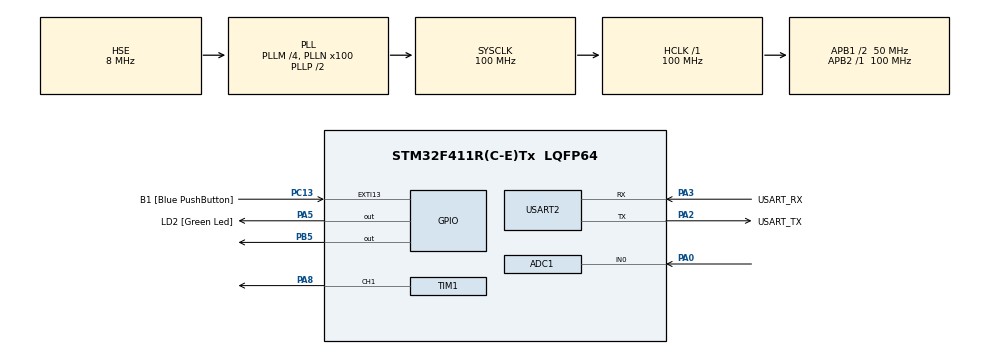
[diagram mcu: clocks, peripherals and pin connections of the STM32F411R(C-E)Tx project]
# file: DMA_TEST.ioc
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ADC1.Channel-0\#ChannelRegularConversion=ADC_CHANNEL_0
ADC1.NbrOfConversionFlag=1
ADC1.Rank-0\#ChannelRegularConversion=1
ADC1.SamplingTime-0\#ChannelRegularConversion=ADC_SAMPLETIME_3CYCLES
ADC1.master=1
Dma.Request0=TIM1_CH1
Dma.TIM1_CH1.0.Direction=DMA_MEMORY_TO_PERIPH
Dma.TIM1_CH1.0.FIFOMode=DMA_FIFOMODE_DISABLE
Dma.TIM1_CH1.0.Instance=DMA2_Stream1
Dma.TIM1_CH1.0.MemDataAlignment=DMA_MDATAALIGN_HALFWORD
Dma.TIM1_CH1.0.MemInc=DMA_MINC_ENABLE
Dma.TIM1_CH1.0.Mode=DMA_CIRCULAR
Dma.TIM1_CH1.0.PeriphDataAlignment=DMA_PDATAALIGN_HALFWORD
Dma.TIM1_CH1.0.PeriphInc=DMA_PINC_DISABLE
Dma.TIM1_CH1.0.Priority=DMA_PRIORITY_HIGH
Mcu.Family=STM32F4
Mcu.Name=STM32F411R(C-E)Tx
Mcu.Package=LQFP64
NVIC.DMA2_Stream1_IRQn=true\:0\:0\:false\:false\:true\:false\:true
NVIC.EXTI15_10_IRQn=true\:0\:0\:false\:false\:true\:true\:true
NVIC.PriorityGroup=NVIC_PRIORITYGROUP_0
NVIC.TIM3_IRQn=true\:0\:0\:false\:false\:true\:true\:true
PA0-WKUP.Signal=ADCx_IN0
PA13.GPIO_Label=TMS
PA13.Mode=Serial_Wire
PA13.Signal=SYS_JTMS-SWDIO
PA14.GPIO_Label=TCK
PA14.Mode=Serial_Wire
PA14.Signal=SYS_JTCK-SWCLK
PA2.GPIO_Label=USART_TX
PA2.Mode=Asynchronous
PA2.Signal=USART2_TX
PA3.GPIO_Label=USART_RX
PA3.Mode=Asynchronous
PA3.Signal=USART2_RX
PA5.GPIO_Label=LD2 [Green Led]
PA5.Signal=GPIO_Output
PA8.Signal=S_TIM1_CH1
PB3.GPIO_Label=SWO
PB3.Signal=SYS_JTDO-SWO
PB5.Signal=GPIO_Output
PC13-ANTI_TAMP.GPIO_Label=B1 [Blue PushButton]
PC13-ANTI_TAMP.GPIO_ModeDefaultEXTI=GPIO_MODE_IT_FALLING
PC13-ANTI_TAMP.Signal=GPXTI13
PC14-OSC32_IN.Mode=LSE-External-Oscillator
PC14-OSC32_IN.Signal=RCC_OSC32_IN
PC15-OSC32_OUT.Mode=LSE-External-Oscillator
PC15-OSC32_OUT.Signal=RCC_OSC32_OUT
PH0\ -\ OSC_IN.Mode=HSE-External-Clock-Source
PH0\ -\ OSC_IN.Signal=RCC_OSC_IN
PH1\ -\ OSC_OUT.Mode=HSE-External-Clock-Source
PH1\ -\ OSC_OUT.Signal=RCC_OSC_OUT
ProjectManager.HeapSize=0x200
ProjectManager.StackSize=0x400
ProjectManager.TargetToolchain=STM32CubeIDE
RCC.48MHZClocksFreq_Value=50000000
RCC.AHBFreq_Value=100000000
RCC.APB1CLKDivider=RCC_HCLK_DIV2
RCC.APB1Freq_Value=50000000
RCC.APB1TimFreq_Value=100000000
RCC.APB2Freq_Value=100000000
RCC.APB2TimFreq_Value=100000000
RCC.CortexFreq_Value=100000000
RCC.FLatency-AdvancedSettings=FLASH_LATENCY_3
RCC.HCLKFreq_Value=100000000
RCC.HSE_VALUE=8000000
RCC.HSI_VALUE=16000000
RCC.PLLM=4
RCC.PLLN=100
RCC.PLLSourceVirtual=RCC_PLLSOURCE_HSE
RCC.SYSCLKFreq_VALUE=100000000
RCC.SYSCLKSource=RCC_SYSCLKSOURCE_PLLCLK
RCC.VCOOutputFreq_Value=200000000
SH.ADCx_IN0.0=ADC1_IN0,IN0
SH.S_TIM1_CH1.0=TIM1_CH1,PWM Generation1 CH1
TIM1.Channel-PWM\ Generation1\ CH1=TIM_CHANNEL_1
TIM1.Period=90-1
TIM1.Pulse-PWM\ Generation1\ CH1=40
TIM3.Period=60000-1
TIM3.Prescaler=120-1
USART2.VirtualMode=VM_ASYNC
VP_TIM1_VS_ClockSourceINT.Mode=Internal
VP_TIM3_VS_ClockSourceINT.Mode=Internal
board=NUCLEO-F411RE

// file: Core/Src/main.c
/* USER CODE BEGIN Header */
/**
  ******************************************************************************
  * @file           : main.c
  * @brief          : Main program body
  ******************************************************************************
  * @attention
  *
  * <h2><center>&copy; Copyright (c) 2021 STMicroelectronics.
  * All rights reserved.</center></h2>
  *
  * This software component is licensed by ST under BSD 3-Clause license,
  * the "License"; You may not use this file except in compliance with the
  * License. You may obtain a copy of the License at:
  *                        opensource.org/licenses/BSD-3-Clause
  *
  ******************************************************************************
  */
/* USER CODE END Header */
#include "main.h"

/* USER CODE BEGIN Includes */
#include "stdlib.h"
#include "math.h"
#include "string.h"
#include "stdio.h"
#include "led_driver.h"
#include "WAsys_logging.h"
#include "effects/rainbow_fade.h"
#include "effects/rainbow_left.h"

/* USER CODE END Includes */

ADC_HandleTypeDef hadc1;

TIM_HandleTypeDef htim1;
TIM_HandleTypeDef htim3;
DMA_HandleTypeDef hdma_tim1_ch1;

UART_HandleTypeDef huart2;

/* USER CODE BEGIN PV */
int needsResync = 1;

/* USER CODE END PV */

void SystemClock_Config(void);
static void MX_GPIO_Init(void);
static void MX_USART2_UART_Init(void);
static void MX_DMA_Init(void);
static void MX_TIM1_Init(void);
static void MX_TIM3_Init(void);
static void MX_ADC1_Init(void);
/* USER CODE BEGIN PFP */

#define _WAsys_DEF_UART_TIMEOUT_MS 512
/*function must follow WAsys_LOGGING_NATIVE_IO_CALLBACK_FUNC_T type*/
static void serial_log(char *arg_buff, size_t arg_len){
 /*Sending the given log value to UART3 interface*/
 HAL_UART_Transmit(&huart2,(uint8_t*)arg_buff,arg_len,_WAsys_DEF_UART_TIMEOUT_MS);
}

void resyncBrightness() {
  if (needsResync == 0) {
	  return;
  }

  HAL_ADC_Start(&hadc1);
  HAL_ADC_PollForConversion(&hadc1, 300);
  uint32_t raw =  HAL_ADC_GetValue(&hadc1);
  int outB = MAP(raw, 4095, 1, 5, 25);
  set_brightness(outB);

  needsResync = 0;
}
/* USER CODE END PFP */

int main(void)
{

  /* MCU Configuration--------------------------------------------------------*/

  /* Reset of all peripherals, Initializes the Flash interface and the Systick. */
  HAL_Init();

  /* Configure the system clock */
  SystemClock_Config();

  /* Initialize all configured peripherals */
  MX_GPIO_Init();
  MX_USART2_UART_Init();
  MX_DMA_Init();
  MX_TIM1_Init();
  MX_TIM3_Init();
  MX_ADC1_Init();
  /* USER CODE BEGIN 2 */
  WAsys_LOGGING_CONF_T _WAsys_log_conf_ins;
  _WAsys_log_conf_ins.callback_func=serial_log;
  _WAsys_log_conf_ins.including_timestamp = 0;
  WAsys_logging_init(_WAsys_log_conf_ins);

  HAL_TIM_Base_Start_IT(&htim3);

  set_brightness(5);

  /* USER CODE END 2 */

  /* Infinite loop */
  while (1)
  {

    /* USER CODE BEGIN 3 */
	  rainbow_effect_fade();
	  HAL_Delay(10);
	  resyncBrightness();
  }
  /* USER CODE END 3 */
}

void SystemClock_Config(void)
{
  RCC_OscInitTypeDef RCC_OscInitStruct = {0};
  RCC_ClkInitTypeDef RCC_ClkInitStruct = {0};

  /** Configure the main internal regulator output voltage
  */
  __HAL_RCC_PWR_CLK_ENABLE();
  __HAL_PWR_VOLTAGESCALING_CONFIG(PWR_REGULATOR_VOLTAGE_SCALE1);
  /** Initializes the RCC Oscillators according to the specified parameters
  * in the RCC_OscInitTypeDef structure.
  */
  RCC_OscInitStruct.OscillatorType = RCC_OSCILLATORTYPE_HSE;
  RCC_OscInitStruct.HSEState = RCC_HSE_BYPASS;
  RCC_OscInitStruct.PLL.PLLState = RCC_PLL_ON;
  RCC_OscInitStruct.PLL.PLLSource = RCC_PLLSOURCE_HSE;
  RCC_OscInitStruct.PLL.PLLM = 4;
  RCC_OscInitStruct.PLL.PLLN = 100;
  RCC_OscInitStruct.PLL.PLLP = RCC_PLLP_DIV2;
  RCC_OscInitStruct.PLL.PLLQ = 4;
  if (HAL_RCC_OscConfig(&RCC_OscInitStruct) != HAL_OK)
  {
    Error_Handler();
  }
  /** Initializes the CPU, AHB and APB buses clocks
  */
  RCC_ClkInitStruct.ClockType = RCC_CLOCKTYPE_HCLK|RCC_CLOCKTYPE_SYSCLK
                              |RCC_CLOCKTYPE_PCLK1|RCC_CLOCKTYPE_PCLK2;
  RCC_ClkInitStruct.SYSCLKSource = RCC_SYSCLKSOURCE_PLLCLK;
  RCC_ClkInitStruct.AHBCLKDivider = RCC_SYSCLK_DIV1;
  RCC_ClkInitStruct.APB1CLKDivider = RCC_HCLK_DIV2;
  RCC_ClkInitStruct.APB2CLKDivider = RCC_HCLK_DIV1;

  if (HAL_RCC_ClockConfig(&RCC_ClkInitStruct, FLASH_LATENCY_3) != HAL_OK)
  {
    Error_Handler();
  }
}

static void MX_ADC1_Init(void)
{

  ADC_ChannelConfTypeDef sConfig = {0};

  /** Configure the global features of the ADC (Clock, Resolution, Data Alignment and number of conversion)
  */
  hadc1.Instance = ADC1;
  hadc1.Init.ClockPrescaler = ADC_CLOCK_SYNC_PCLK_DIV4;
  hadc1.Init.Resolution = ADC_RESOLUTION_12B;
  hadc1.Init.ScanConvMode = DISABLE;
  hadc1.Init.ContinuousConvMode = DISABLE;
  hadc1.Init.DiscontinuousConvMode = DISABLE;
  hadc1.Init.ExternalTrigConvEdge = ADC_EXTERNALTRIGCONVEDGE_NONE;
  hadc1.Init.ExternalTrigConv = ADC_SOFTWARE_START;
  hadc1.Init.DataAlign = ADC_DATAALIGN_RIGHT;
  hadc1.Init.NbrOfConversion = 1;
  hadc1.Init.DMAContinuousRequests = DISABLE;
  hadc1.Init.EOCSelection = ADC_EOC_SINGLE_CONV;
  if (HAL_ADC_Init(&hadc1) != HAL_OK)
  {
    Error_Handler();
  }
  /** Configure for the selected ADC regular channel its corresponding rank in the sequencer and its sample time.
  */
  sConfig.Channel = ADC_CHANNEL_0;
  sConfig.Rank = 1;
  sConfig.SamplingTime = ADC_SAMPLETIME_3CYCLES;
  if (HAL_ADC_ConfigChannel(&hadc1, &sConfig) != HAL_OK)
  {
    Error_Handler();
  }

}

static void MX_TIM1_Init(void)
{

  TIM_ClockConfigTypeDef sClockSourceConfig = {0};
  TIM_MasterConfigTypeDef sMasterConfig = {0};
  TIM_OC_InitTypeDef sConfigOC = {0};
  TIM_BreakDeadTimeConfigTypeDef sBreakDeadTimeConfig = {0};

  htim1.Instance = TIM1;
  htim1.Init.Prescaler = 0;
  htim1.Init.CounterMode = TIM_COUNTERMODE_UP;
  htim1.Init.Period = 90-1;
  htim1.Init.ClockDivision = TIM_CLOCKDIVISION_DIV1;
  htim1.Init.RepetitionCounter = 0;
  htim1.Init.AutoReloadPreload = TIM_AUTORELOAD_PRELOAD_DISABLE;
  if (HAL_TIM_Base_Init(&htim1) != HAL_OK)
  {
    Error_Handler();
  }
  sClockSourceConfig.ClockSource = TIM_CLOCKSOURCE_INTERNAL;
  if (HAL_TIM_ConfigClockSource(&htim1, &sClockSourceConfig) != HAL_OK)
  {
    Error_Handler();
  }
  if (HAL_TIM_PWM_Init(&htim1) != HAL_OK)
  {
    Error_Handler();
  }
  sMasterConfig.MasterOutputTrigger = TIM_TRGO_RESET;
  sMasterConfig.MasterSlaveMode = TIM_MASTERSLAVEMODE_DISABLE;
  if (HAL_TIMEx_MasterConfigSynchronization(&htim1, &sMasterConfig) != HAL_OK)
  {
    Error_Handler();
  }
  sConfigOC.OCMode = TIM_OCMODE_PWM1;
  sConfigOC.Pulse = 40;
  sConfigOC.OCPolarity = TIM_OCPOLARITY_HIGH;
  sConfigOC.OCNPolarity = TIM_OCNPOLARITY_HIGH;
  sConfigOC.OCFastMode = TIM_OCFAST_DISABLE;
  sConfigOC.OCIdleState = TIM_OCIDLESTATE_RESET;
  sConfigOC.OCNIdleState = TIM_OCNIDLESTATE_RESET;
  if (HAL_TIM_PWM_ConfigChannel(&htim1, &sConfigOC, TIM_CHANNEL_1) != HAL_OK)
  {
    Error_Handler();
  }
  sBreakDeadTimeConfig.OffStateRunMode = TIM_OSSR_DISABLE;
  sBreakDeadTimeConfig.OffStateIDLEMode = TIM_OSSI_DISABLE;
  sBreakDeadTimeConfig.LockLevel = TIM_LOCKLEVEL_OFF;
  sBreakDeadTimeConfig.DeadTime = 0;
  sBreakDeadTimeConfig.BreakState = TIM_BREAK_DISABLE;
  sBreakDeadTimeConfig.BreakPolarity = TIM_BREAKPOLARITY_HIGH;
  sBreakDeadTimeConfig.AutomaticOutput = TIM_AUTOMATICOUTPUT_DISABLE;
  if (HAL_TIMEx_ConfigBreakDeadTime(&htim1, &sBreakDeadTimeConfig) != HAL_OK)
  {
    Error_Handler();
  }
  HAL_TIM_MspPostInit(&htim1);

}

static void MX_TIM3_Init(void)
{

  TIM_ClockConfigTypeDef sClockSourceConfig = {0};
  TIM_MasterConfigTypeDef sMasterConfig = {0};

  htim3.Instance = TIM3;
  htim3.Init.Prescaler = 120-1;
  htim3.Init.CounterMode = TIM_COUNTERMODE_UP;
  htim3.Init.Period = 60000-1;
  htim3.Init.ClockDivision = TIM_CLOCKDIVISION_DIV1;
  htim3.Init.AutoReloadPreload = TIM_AUTORELOAD_PRELOAD_DISABLE;
  if (HAL_TIM_Base_Init(&htim3) != HAL_OK)
  {
    Error_Handler();
  }
  sClockSourceConfig.ClockSource = TIM_CLOCKSOURCE_INTERNAL;
  if (HAL_TIM_ConfigClockSource(&htim3, &sClockSourceConfig) != HAL_OK)
  {
    Error_Handler();
  }
  sMasterConfig.MasterOutputTrigger = TIM_TRGO_RESET;
  sMasterConfig.MasterSlaveMode = TIM_MASTERSLAVEMODE_DISABLE;
  if (HAL_TIMEx_MasterConfigSynchronization(&htim3, &sMasterConfig) != HAL_OK)
  {
    Error_Handler();
  }

}

static void MX_USART2_UART_Init(void)
{

  huart2.Instance = USART2;
  huart2.Init.BaudRate = 115200;
  huart2.Init.WordLength = UART_WORDLENGTH_8B;
  huart2.Init.StopBits = UART_STOPBITS_1;
  huart2.Init.Parity = UART_PARITY_NONE;
  huart2.Init.Mode = UART_MODE_TX_RX;
  huart2.Init.HwFlowCtl = UART_HWCONTROL_NONE;
  huart2.Init.OverSampling = UART_OVERSAMPLING_16;
  if (HAL_UART_Init(&huart2) != HAL_OK)
  {
    Error_Handler();
  }

}

static void MX_DMA_Init(void)
{

  /* DMA controller clock enable */
  __HAL_RCC_DMA2_CLK_ENABLE();

  /* DMA interrupt init */
  /* DMA2_Stream1_IRQn interrupt configuration */
  HAL_NVIC_SetPriority(DMA2_Stream1_IRQn, 0, 0);
  HAL_NVIC_EnableIRQ(DMA2_Stream1_IRQn);

}

static void MX_GPIO_Init(void)
{
  GPIO_InitTypeDef GPIO_InitStruct = {0};

  /* GPIO Ports Clock Enable */
  __HAL_RCC_GPIOC_CLK_ENABLE();
  __HAL_RCC_GPIOH_CLK_ENABLE();
  __HAL_RCC_GPIOA_CLK_ENABLE();
  __HAL_RCC_GPIOB_CLK_ENABLE();

  /*Configure GPIO pin Output Level */
  HAL_GPIO_WritePin(LD2_GPIO_Port, LD2_Pin, GPIO_PIN_RESET);

  /*Configure GPIO pin Output Level */
  HAL_GPIO_WritePin(GPIOB, GPIO_PIN_5, GPIO_PIN_RESET);

  /*Configure GPIO pin : B1_Pin */
  GPIO_InitStruct.Pin = B1_Pin;
  GPIO_InitStruct.Mode = GPIO_MODE_IT_FALLING;
  GPIO_InitStruct.Pull = GPIO_NOPULL;
  HAL_GPIO_Init(B1_GPIO_Port, &GPIO_InitStruct);

  /*Configure GPIO pin : LD2_Pin */
  GPIO_InitStruct.Pin = LD2_Pin;
  GPIO_InitStruct.Mode = GPIO_MODE_OUTPUT_PP;
  GPIO_InitStruct.Pull = GPIO_NOPULL;
  GPIO_InitStruct.Speed = GPIO_SPEED_FREQ_LOW;
  HAL_GPIO_Init(LD2_GPIO_Port, &GPIO_InitStruct);

  /*Configure GPIO pin : PB5 */
  GPIO_InitStruct.Pin = GPIO_PIN_5;
  GPIO_InitStruct.Mode = GPIO_MODE_OUTPUT_PP;
  GPIO_InitStruct.Pull = GPIO_NOPULL;
  GPIO_InitStruct.Speed = GPIO_SPEED_FREQ_LOW;
  HAL_GPIO_Init(GPIOB, &GPIO_InitStruct);

  /* EXTI interrupt init*/
  HAL_NVIC_SetPriority(EXTI15_10_IRQn, 0, 0);
  HAL_NVIC_EnableIRQ(EXTI15_10_IRQn);

}

/* USER CODE BEGIN 4 */
void HAL_GPIO_EXTI_Callback(uint16_t GPIO_Pin) {
	HAL_TIM_Base_Stop_IT(&htim3);
	int newBri = get_brightness() + 5;
	if (newBri > 45) {
		newBri = 0;
		HAL_TIM_Base_Start_IT(&htim3);
	}

	set_brightness(newBri);
}

/* USER CODE END 4 */

void Error_Handler(void)
{
  __disable_irq();
  while (1)
  {
  }
}
